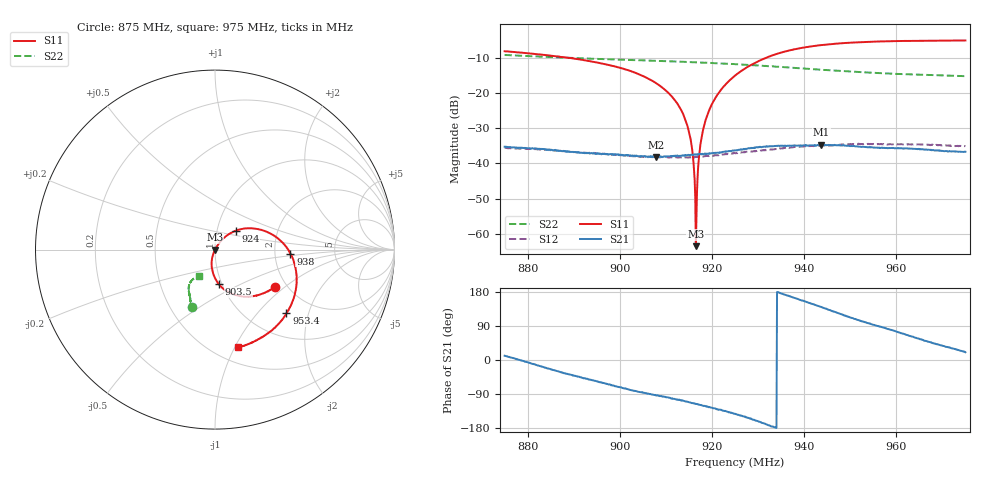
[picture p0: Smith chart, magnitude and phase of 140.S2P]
! C:\Users\rflab\Downloads\Lab5_KD_ZW\Q3\140.S2P
! Touchstone 1.1 file saved by VNA.EXE V1.65 (www.ke5fx.com/gpib/readme.htm)
! 11/18/2024 10:28:50 PM
!  Source: HEWLETT PACKARD,8753D,0,6.14
!  Min freq: 8.750000E+008 Hz
!  Max freq: 9.750200E+008 Hz
!  Points: 801
!  Params: S11 S21 S12 S22
# GHZ S MA R 50
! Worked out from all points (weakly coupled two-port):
!   801 points, 875 MHz to 975 MHz, reference 50 ohm
!   highest |S21| = -34.69 dB at 943.8 MHz (marker M1); lowest = -38.2 dB at 907.9 MHz (marker M2)
!   lowest |S11| = -63.5 dB at 916.5 MHz (marker M3), VSWR 1.00, Z = 50 - j0.0636 ohm
!   |S11| at or under -10 dB: 889.1 MHz to 931.7 MHz (42.56 MHz wide, 4.67 % of centre)
!   |S22| runs from -15.2 to -9.2 dB; largest |S21 - S12| = 0.0046
!   S11 on the Smith chart (normalised r, x): 875 MHz: 1.74, -0.85; 903.5 MHz: 0.97, -0.39; 924 MHz: 1.23, +0.26; 938 MHz: 2.44, -0.13; 953.4 MHz: 1.46, -1.45; 975 MHz: 0.65, -1.03
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0.875  0.3938 -31.7  0.0173 11.3  0.01662 20.3  0.3479 -112.0
0.8917534  0.2977 -61.0  0.01421 -46.6  0.01432 -40.2  0.313 -116.1
0.9035057  0.193 -83.8  0.01271 -81.7  0.01267 -78.0  0.2944 -118.6
0.9078816  0.1384 -93.5  0.01229 -93.7  0.01237 -89.8  0.2874 -119.5
0.9083817  0.1315 -94.7  0.01253 -93.5  0.01221 -91.2  0.2862 -119.7
0.9120074  0.07861 -104.2  0.01295 -103.2  0.01209 -101.2  0.2817 -120.8
0.9142579  0.04157 -109.6  0.01297 -108.9  0.01229 -106.9  0.2784 -121.4
0.9155081  0.01943 -113.2  0.01332 -113.0  0.01234 -109.9  0.2759 -121.9
0.9161332  0.007871 -115.2  0.01351 -114.3  0.01211 -112.6  0.2751 -122.0
0.9165083  0.000667 -107.5  0.01351 -116.0  0.0124 -112.7  0.2744 -122.0
0.9168834  0.006259 62.2  0.0133 -116.7  0.01246 -113.7  0.2737 -122.1
0.9176335  0.02091 60.4  0.01354 -118.5  0.01242 -115.6  0.2725 -122.6
0.9187587  0.04356 57.3  0.01359 -122.8  0.0128 -118.9  0.2706 -122.7
0.9207591  0.08585 51.9  0.01419 -128.2  0.01311 -124.2  0.2657 -123.3
0.9240098  0.1553 42.5  0.01494 -139.2  0.01386 -134.1  0.26 -124.1
0.92501  0.1773 39.2  0.01537 -142.3  0.01401 -137.2  0.2584 -124.7
0.9380126  0.4206 -3.0  0.01809 163.4  0.01719 174.7  0.2281 -127.0
0.9417633  0.4635 -13.8  0.01808 148.1  0.01783 159.6  0.2194 -127.1
0.9437638  0.4808 -19.4  0.01843 139.9  0.01797 151.8  0.215 -127.0
0.9533907  0.5333 -41.7  0.01713 99.0  0.01888 111.4  0.197 -125.8
0.9583917  0.5474 -51.3  0.01649 81.4  0.01869 90.4  0.1899 -124.8
0.97502  0.5603 -76.8  0.01466 20.4  0.01764 25.2  0.1741 -121.2
